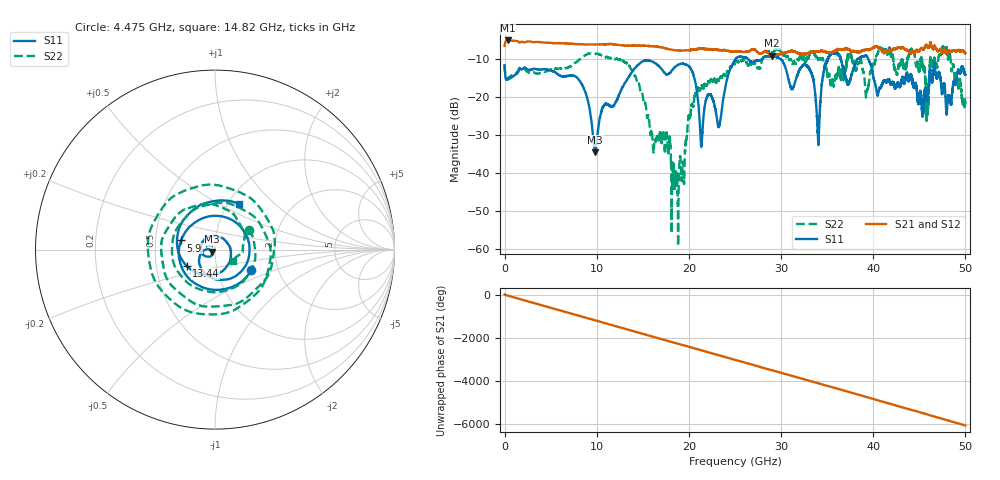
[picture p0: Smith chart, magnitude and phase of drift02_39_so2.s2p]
!Created with skrf (http://scikit-rf.org).
# Hz S RI R 50.0
!freq ReS11 ImS11 ReS21 ImS21 ReS12 ImS12 ReS22 ImS22
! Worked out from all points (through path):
!   10001 points, 300 kHz to 50 GHz, reference 50 ohm
!   highest |S21| = -5.04 dB at 325.3 MHz (marker M1); lowest = -9.0 dB at 29.01 GHz (marker M2)
!   group delay of S21, straight-line fit = 336 ps
!   lowest |S11| = -34.5 dB at 9.84 GHz (marker M3), VSWR 1.04, Z = 48.5 - j1.03 ohm
!   |S11| at or under -10 dB: start of sweep to 25.07 GHz; 29.97 GHz to 35.05 GHz (5.081 GHz wide, 15.6 % of centre); 39.47 GHz to end of sweep (the widest 3 of 7)
!   |S22| runs from -59.3 to -6.5 dB; largest |S21 - S12| = 0.021
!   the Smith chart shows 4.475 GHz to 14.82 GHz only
!   S11 on the Smith chart (normalised r, x): 4.475 GHz: 1.46, -0.35; 5.9 GHz: 0.68, +0.07; 13.44 GHz: 0.72, -0.13; 14.82 GHz: 1.13, +0.63
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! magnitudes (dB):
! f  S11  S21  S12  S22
! 300 kHz  -11.6  -6.5  -6.4  -11.4
! 325.3 MHz  -15.4  -5.0  -5.0  -15.0
! 4.475 GHz  -12.6  -5.6  -5.6  -13.2
! 5.9 GHz  -14.2  -5.7  -5.7  -12.4
! 8.335 GHz  -16.4  -6.0  -6.0  -9.6
! 9.84 GHz  -34.5  -6.1  -6.1  -8.5
! 13.44 GHz  -14.8  -6.4  -6.4  -11.6
! 14.82 GHz  -10.8  -6.4  -6.4  -18.6
! 16.67 GHz  -11.6  -6.7  -6.7  -30.8
! 18.67 GHz  -11.7  -7.7  -7.7  -41.5
! 20.37 GHz  -13.3  -7.5  -7.5  -21.9
! 21.37 GHz  -32.6  -7.3  -7.3  -16.9
! 23.31 GHz  -27.4  -7.5  -7.6  -15.7
! 25 GHz  -10.2  -7.9  -8.0  -11.2
! 29.01 GHz  -9.1  -9.0  -9.0  -8.2
! 33.34 GHz  -13.9  -8.1  -8.1  -8.1
! 34.02 GHz  -31.1  -7.9  -7.9  -10.1
! 35.52 GHz  -8.5  -8.2  -8.1  -15.7
! 41.67 GHz  -15.3  -7.7  -7.7  -7.5
! 45.87 GHz  -20.3  -6.8  -6.9  -24.8
! 47.76 GHz  -17.3  -7.5  -7.5  -7.3
! 50 GHz  -14.1  -8.4  -8.4  -20.6
